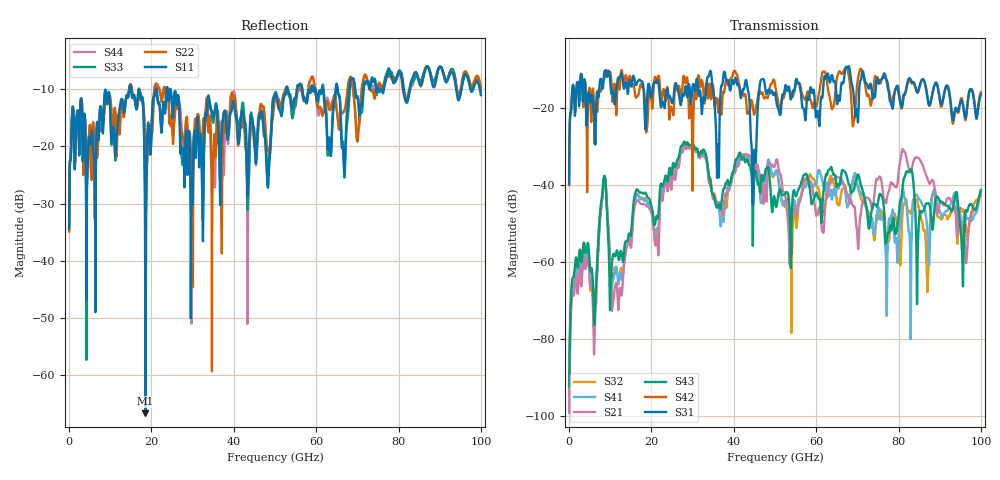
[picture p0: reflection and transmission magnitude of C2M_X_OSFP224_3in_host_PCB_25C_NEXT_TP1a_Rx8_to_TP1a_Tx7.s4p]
# GHz S RI R 45
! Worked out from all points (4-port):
!   4000 points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, 25 MHz to 100 GHz, reference 45 ohm
!   strongest paths, dB at 25 MHz, 25.02 GHz, 50.02 GHz, 75.03 GHz, 100 GHz:
!     S31: -39.6, -18.8, -16.2, -13.4, -16.6
!     S42: -40.1, -20.6, -13.9, -12.3, -15.9
!     S43: -92.4, -36.4, -44.3, -44.6, -41.3
!     S21: -89.3, -39.2, -34.9, -38.6, -42.6
!     S41: -92.5, -37.7, -36.7, -46.1, -41.6
!     S32: -91.8, -38.2, -37.0, -48.9, -41.9
!   lowest |S11| = -66.7 dB at 18.55 GHz (marker M1), VSWR 1.00, Z = 45 - j0.0354 ohm
!   |S11| at or under -10 dB: start of sweep to 14.64 GHz; 17.08 GHz to 21.06 GHz (3.986 GHz wide, 20.9 % of centre); 24.67 GHz to 52.73 GHz (28.06 GHz wide, 72.5 % of centre) (the widest 3 of 20)
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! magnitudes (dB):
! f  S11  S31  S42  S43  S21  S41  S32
! 25 MHz  -34.4  -39.6  -40.1  -92.4  -89.3  -92.5  -91.8
! 6.25 GHz  -24.8  -24.9  -29.0  -74.1  -77.6  -75.0  -71.6
! 8.55 GHz  -11.8  -10.9  -12.4  -37.7  -38.6  -38.0  -38.3
! 10.68 GHz  -16.7  -15.8  -17.4  -58.3  -70.6  -64.4  -63.7
! 18.55 GHz  -66.7  -25.7  -22.1  -42.0  -45.1  -43.9  -43.4
! 87 GHz  -6.0  -17.0  -17.3  -44.8  -38.2  -51.6  -67.7
! 100 GHz  -11.0  -16.6  -15.9  -41.3  -42.6  -41.6  -41.9
